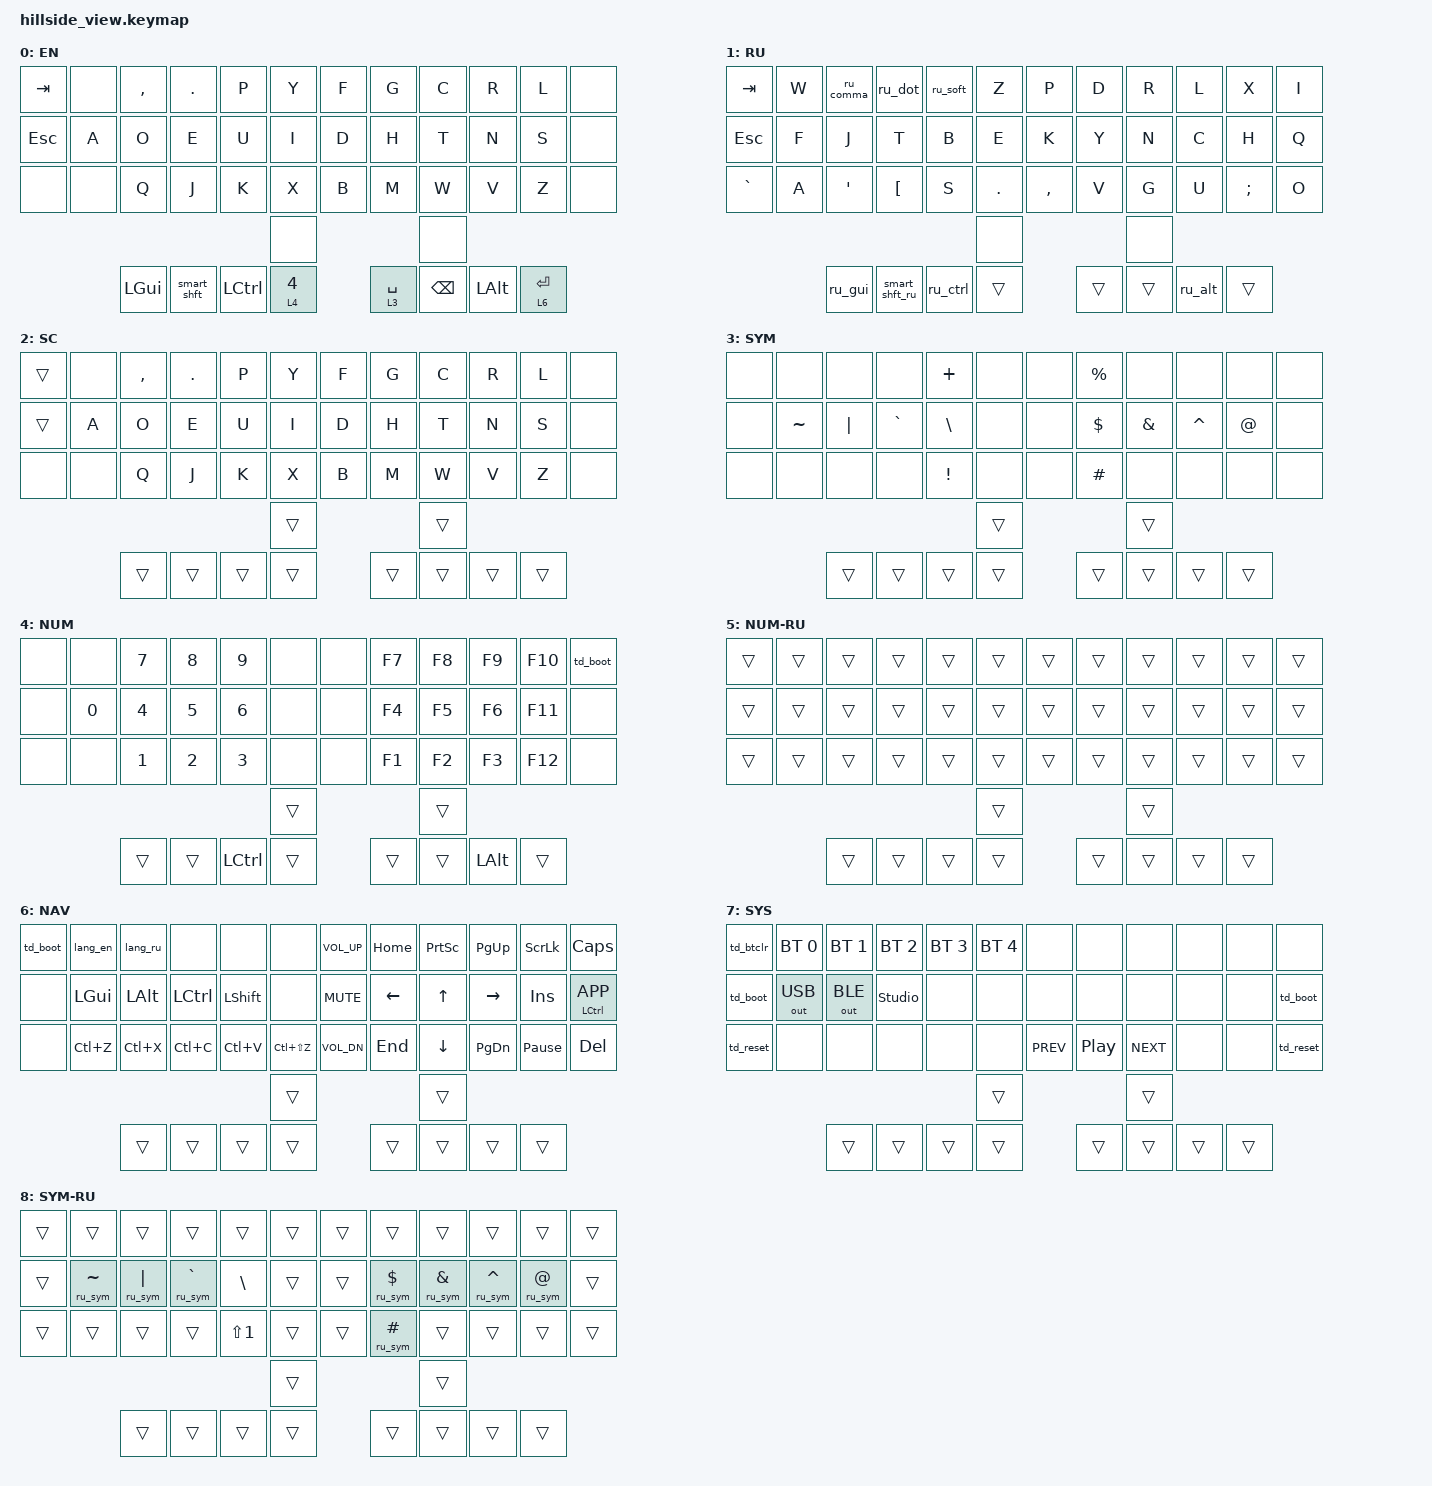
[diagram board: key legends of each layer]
/*
 * HillSideView (shield hillside_view, 46 позиций) · ZMK
 * Dvorak и Диктор в прошивке поверх ВСТРОЕННЫХ раскладок ОС: US (QWERTY) и Russian (ЙЦУКЕН).
 *
 * Слои:  0 EN · 1 RU · 2 SC · 3 SYM · 4 NUM · 5 NUM-RU (усл.) · 6 NAV · 7 SYS (усл.)
 * Номера слоёв в привязках записаны цифрами, чтобы файл открывался в keymap editor.
 *
 * Порядок позиций (из boards/shields/hillside_view/hillside_view.dtsi):
 *   0-11  верхний ряд   (левая: внешняя→внутренняя, правая: внутренняя→внешняя)
 *   12-23 домашний ряд
 *   24-35 нижний ряд
 *   36-37 верхние клавиши больших пальцев (на 44-клавишной сборке не распаяны → &none)
 *   38-41 левые большие пальцы  (внешняя → внутренняя)
 *   42-45 правые большие пальцы (внутренняя → внешняя)
 *
 * ОС: только English (US) и Russian (ЙЦУКЕН).
 *   Ctrl+Shift+1 → выбрать английский, Ctrl+Shift+2 → выбрать русский.
 *   Windows: «Использовать один метод ввода для всех приложений» — включено (это по умолчанию).
 *
 * Большие пальцы: слева Gui · Shift · Ctrl · Num/NUM, справа Space/NAV · Bksp · Alt · Enter/SYM.
 * Смена языка: Num + Space одновременно.
 *
 * Требует модуль urob/zmk-auto-layer в config/west.yml (для &num_word).
 */

#include <behaviors.dtsi>
#include <behaviors/num_word.dtsi>
#include <behaviors/studio_unlock.dtsi>
#include <dt-bindings/zmk/keys.h>
#include <dt-bindings/zmk/bt.h>
#include <dt-bindings/zmk/outputs.h>

&sk {
    release-after-ms = <1000>;
    quick-release;
};

&caps_word {
    continue-list = <UNDERSCORE MINUS BACKSPACE DELETE>;
};

&num_word {
    continue-list = <BSPC DEL DOT COMMA FSLH KP_SLASH PLUS MINUS STAR EQUAL PRCNT UNDERSCORE>;
};

/ {
    behaviors {
        // Защита от случайного нажатия, как в Miryoku: срабатывает только двойной тап
        td_boot: td_boot {
            compatible = "zmk,behavior-tap-dance";
            #binding-cells = <0>;
            tapping-term-ms = <200>;
            bindings = <&none>, <&bootloader>;
        };
        td_reset: td_reset {
            compatible = "zmk,behavior-tap-dance";
            #binding-cells = <0>;
            tapping-term-ms = <200>;
            bindings = <&none>, <&sys_reset>;
        };
        td_btclr: td_btclr {
            compatible = "zmk,behavior-tap-dance";
            #binding-cells = <0>;
            tapping-term-ms = <200>;
            bindings = <&none>, <&bt BT_CLR>;
        };
        // тап — клавиша, удержание — слой
        ht: hold_tap_layer {
            compatible = "zmk,behavior-hold-tap";
            #binding-cells = <2>;
            flavor = "balanced";
            tapping-term-ms = <200>;
            quick-tap-ms = <175>;
            bindings = <&mo>, <&kp>;
        };
        // Space: тап — пробел, удержание — SYM. При быстрой печати всегда пробел.
        ht_spc: hold_tap_space {
            compatible = "zmk,behavior-hold-tap";
            #binding-cells = <2>;
            flavor = "balanced";
            tapping-term-ms = <200>;
            quick-tap-ms = <175>;
            require-prior-idle-ms = <150>;
            bindings = <&mo>, <&kp>;
        };
        // тап — numword, удержание — NUM
        ht_num: hold_tap_num {
            compatible = "zmk,behavior-hold-tap";
            #binding-cells = <2>;
            flavor = "balanced";
            tapping-term-ms = <200>;
            bindings = <&mo>, <&num_word>;
        };
        // Shift: тап — sticky shift, второй тап — caps word, удержание — обычный Shift
        smart_shft: smart_shift {
            compatible = "zmk,behavior-mod-morph";
            #binding-cells = <0>;
            bindings = <&sk LSHFT>, <&caps_word>;
            mods = <(MOD_LSFT|MOD_RSFT)>;
        };
        // RU: второй тап — системный Caps Lock (caps word сдвигает только A–Z)
        smart_shft_ru: smart_shift_ru {
            compatible = "zmk,behavior-mod-morph";
            #binding-cells = <0>;
            bindings = <&sk LSHFT>, <&kp CAPS>;
            mods = <(MOD_LSFT|MOD_RSFT)>;
        };
        // Ь, с Shift — ъ
        ru_soft: ru_soft {
            compatible = "zmk,behavior-mod-morph";
            #binding-cells = <0>;
            bindings = <&kp M>, <&kp RBKT>;
            mods = <(MOD_LSFT|MOD_RSFT)>;
        };
        // «,», с Shift — «<» как в EN  (в ЙЦУКЕН «,» = Shift+/; «<» нет — ОС на миг в EN через ru_sym)
        ru_comma: ru_comma {
            compatible = "zmk,behavior-mod-morph";
            #binding-cells = <0>;
            bindings = <&kp LS(FSLH)>, <&ru_sym LT>;
            mods = <(MOD_LSFT|MOD_RSFT)>;
        };
        // «.», с Shift — «>» как в EN  (в ЙЦУКЕН «.» = /; «>» нет — ОС на миг в EN через ru_sym)
        ru_dot: ru_dot {
            compatible = "zmk,behavior-mod-morph";
            #binding-cells = <0>;
            bindings = <&kp FSLH>, <&ru_sym GT>;
            mods = <(MOD_LSFT|MOD_RSFT)>;
        };
    };

    macros {
        // Смена языка: выбрать раскладку в ОС и базовый слой. Каждое нажатие заново синхронизирует.
        lang_ru: lang_ru {
            compatible = "zmk,behavior-macro";
            #binding-cells = <0>;
            wait-ms = <30>;
            tap-ms = <30>;
            bindings = <&macro_tap &kp LC(LS(N2)) &to 1>;
        };
        lang_en: lang_en {
            compatible = "zmk,behavior-macro";
            #binding-cells = <0>;
            wait-ms = <30>;
            tap-ms = <30>;
            bindings = <&macro_tap &kp LC(LS(N1)) &to 0>;
        };
        // RU: один английский символ = EN → символ → RU
        ru_sym: ru_sym {
            compatible = "zmk,behavior-macro-one-param";
            #binding-cells = <1>;
            wait-ms = <40>;
            tap-ms = <20>;
            bindings
                = <&macro_tap &kp LC(LS(N1))>
                , <&macro_param_1to1>
                , <&macro_tap &kp MACRO_PLACEHOLDER>
                , <&macro_tap &kp LC(LS(N2))>
                ;
        };
        // RU: модификаторы включают слой SC (английские буквы), чтобы хоткеи совпадали с EN
        ru_ctrl: ru_ctrl {
            compatible = "zmk,behavior-macro";
            #binding-cells = <0>;
            wait-ms = <0>;
            tap-ms = <0>;
            bindings
                = <&macro_press &mo 2 &kp LCTRL>
                , <&macro_pause_for_release>
                , <&macro_release &kp LCTRL &mo 2>
                ;
        };
        ru_alt: ru_alt {
            compatible = "zmk,behavior-macro";
            #binding-cells = <0>;
            wait-ms = <0>;
            tap-ms = <0>;
            bindings
                = <&macro_press &mo 2 &kp LALT>
                , <&macro_pause_for_release>
                , <&macro_release &kp LALT &mo 2>
                ;
        };
        ru_gui: ru_gui {
            compatible = "zmk,behavior-macro";
            #binding-cells = <0>;
            wait-ms = <0>;
            tap-ms = <0>;
            bindings
                = <&macro_press &mo 2 &kp LGUI>
                , <&macro_pause_for_release>
                , <&macro_release &kp LGUI &mo 2>
                ;
        };
    };

    conditional_layers {
        compatible = "zmk,conditional-layers";
        num_ru {
            if-layers = <1 4>;
            then-layer = <5>;
        };
        sys {
            if-layers = <4 6>;
            then-layer = <7>;
        };
        sym_ru {
            if-layers = <1 3>;
            then-layer = <8>;
        };
    };

    combos {
        compatible = "zmk,combos";

        // Смена языка: оба внутренних больших пальца (Num + Space)
        combo_lang_ru {
            timeout-ms = <40>;
            require-prior-idle-ms = <150>;
            key-positions = <41 42>;
            bindings = <&lang_ru>;
            layers = <0>;
        };

        combo_lang_en {
            timeout-ms = <40>;
            require-prior-idle-ms = <150>;
            key-positions = <41 42>;
            bindings = <&lang_en>;
            layers = <1>;
        };

        // Все остальные комбо вертикальные: две клавиши одной колонки одним пальцем.
        // Ролла по одной колонке не бывает, поэтому idle 50 мс: скобку можно набрать сразу после буквы.

        // внутренние колонки, верх+дом (Y+I, F+D): ( )
        combo_lpar {
            timeout-ms = <50>;
            require-prior-idle-ms = <50>;
            key-positions = <5 17>;
            bindings = <&kp LPAR>;
            layers = <0 1>;
        };

        combo_rpar {
            timeout-ms = <50>;
            require-prior-idle-ms = <50>;
            key-positions = <6 18>;
            bindings = <&kp RPAR>;
            layers = <0 1>;
        };

        // правая внутренняя колонка, дом+низ (D+B): _
        combo_under {
            timeout-ms = <50>;
            require-prior-idle-ms = <50>;
            key-positions = <18 30>;
            bindings = <&kp UNDERSCORE>;
            layers = <0 1>;
        };

        // безымянные, верх+дом: [ ]  (RU — через ru_sym)
        combo_lbkt_en {
            timeout-ms = <60>;
            require-prior-idle-ms = <50>;
            key-positions = <2 14>;
            bindings = <&kp LBKT>;
            layers = <0>;
        };

        combo_lbkt_ru {
            timeout-ms = <60>;
            require-prior-idle-ms = <50>;
            key-positions = <2 14>;
            bindings = <&ru_sym LBKT>;
            layers = <1>;
        };

        combo_rbkt_en {
            timeout-ms = <60>;
            require-prior-idle-ms = <50>;
            key-positions = <9 21>;
            bindings = <&kp RBKT>;
            layers = <0>;
        };

        combo_rbkt_ru {
            timeout-ms = <60>;
            require-prior-idle-ms = <50>;
            key-positions = <9 21>;
            bindings = <&ru_sym RBKT>;
            layers = <1>;
        };

        // указательные, верх+дом: { }  (RU — через ru_sym)
        combo_lbrc_en {
            timeout-ms = <50>;
            require-prior-idle-ms = <50>;
            key-positions = <4 16>;
            bindings = <&kp LBRC>;
            layers = <0>;
        };

        combo_lbrc_ru {
            timeout-ms = <50>;
            require-prior-idle-ms = <50>;
            key-positions = <4 16>;
            bindings = <&ru_sym LBRC>;
            layers = <1>;
        };

        combo_rbrc_en {
            timeout-ms = <50>;
            require-prior-idle-ms = <50>;
            key-positions = <7 19>;
            bindings = <&kp RBRC>;
            layers = <0>;
        };

        combo_rbrc_ru {
            timeout-ms = <50>;
            require-prior-idle-ms = <50>;
            key-positions = <7 19>;
            bindings = <&ru_sym RBRC>;
            layers = <1>;
        };

        // средний левый, дом+низ (E+J): :  (в ЙЦУКЕН «:» = Shift+6)
        combo_colon_en {
            timeout-ms = <50>;
            require-prior-idle-ms = <50>;
            key-positions = <15 27>;
            bindings = <&kp COLON>;
            layers = <0>;
        };

        combo_colon_ru {
            timeout-ms = <50>;
            require-prior-idle-ms = <50>;
            key-positions = <15 27>;
            bindings = <&kp LS(N6)>;
            layers = <1>;
        };

        // средний правый, дом+низ (T+W): ;  (в ЙЦУКЕН «;» = Shift+4)
        combo_semi_en {
            timeout-ms = <50>;
            require-prior-idle-ms = <50>;
            key-positions = <20 32>;
            bindings = <&kp SEMI>;
            layers = <0>;
        };

        combo_semi_ru {
            timeout-ms = <50>;
            require-prior-idle-ms = <50>;
            key-positions = <20 32>;
            bindings = <&kp LS(N4)>;
            layers = <1>;
        };

        // средние, верх+дом: ? (.+E) и = (C+T)  (в ЙЦУКЕН ? = Shift+7; код = одинаковый, с Shift даёт +)
        combo_qmark_en {
            timeout-ms = <50>;
            require-prior-idle-ms = <50>;
            key-positions = <3 15>;
            bindings = <&kp QMARK>;
            layers = <0>;
        };

        combo_qmark_ru {
            timeout-ms = <50>;
            require-prior-idle-ms = <50>;
            key-positions = <3 15>;
            bindings = <&kp LS(N7)>;
            layers = <1>;
        };

        combo_equal {
            timeout-ms = <50>;
            require-prior-idle-ms = <50>;
            key-positions = <8 20>;
            bindings = <&kp EQUAL>;
            layers = <0 1>;
        };

        // безымянный левый, дом+низ: *  (в ЙЦУКЕН тоже Shift+8)
        combo_star {
            timeout-ms = <60>;
            require-prior-idle-ms = <50>;
            key-positions = <14 26>;
            bindings = <&kp STAR>;
            layers = <0 1>;
        };

        // левый указательный, дом+низ (U+K): '  (в ЙЦУКЕН нет — через ru_sym)
        combo_sqt_en {
            timeout-ms = <50>;
            require-prior-idle-ms = <50>;
            key-positions = <16 28>;
            bindings = <&kp SQT>;
            layers = <0>;
        };

        combo_sqt_ru {
            timeout-ms = <50>;
            require-prior-idle-ms = <50>;
            key-positions = <16 28>;
            bindings = <&ru_sym SQT>;
            layers = <1>;
        };

        // правый указательный, дом+низ (H+M): "  (в ЙЦУКЕН " = Shift+2)
        combo_dqt_en {
            timeout-ms = <50>;
            require-prior-idle-ms = <50>;
            key-positions = <19 31>;
            bindings = <&kp DQT>;
            layers = <0>;
        };

        combo_dqt_ru {
            timeout-ms = <50>;
            require-prior-idle-ms = <50>;
            key-positions = <19 31>;
            bindings = <&kp LS(N2)>;
            layers = <1>;
        };

        // внутренние колонки, дом+низ: - (I+X) и / (D+B)  (в ЙЦУКЕН / = Shift+\)
        combo_minus {
            timeout-ms = <50>;
            require-prior-idle-ms = <50>;
            key-positions = <17 29>;
            bindings = <&kp MINUS>;
            layers = <0 1>;
        };

        combo_fslh_en {
            timeout-ms = <60>;
            require-prior-idle-ms = <50>;
            key-positions = <21 33>;
            bindings = <&kp FSLH>;
            layers = <0>;
        };

        combo_fslh_ru {
            timeout-ms = <60>;
            require-prior-idle-ms = <50>;
            key-positions = <21 33>;
            bindings = <&kp LS(BSLH)>;
            layers = <1>;
        };
    };

    keymap {
        compatible = "zmk,keymap";

        // 0 · Dvorak поверх US
        en_layer {
            display-name = "EN";
            bindings = <
        &kp TAB          &none            &kp COMMA        &kp DOT          &kp P            &kp Y   &kp F            &kp G            &kp C            &kp R            &kp L            &none
        &kp ESC          &kp A            &kp O            &kp E            &kp U            &kp I   &kp D            &kp H            &kp T            &kp N            &kp S            &none
        &none            &none            &kp Q            &kp J            &kp K            &kp X   &kp B            &kp M            &kp W            &kp V            &kp Z            &none
                                                                                             &none                               &none
                                          &kp LGUI         &smart_shft      &kp LCTRL        &ht_num 4 4        &ht_spc 3 SPACE  &kp BSPC         &kp LALT         &ht 6 RET
            >;
        };

        // 1 · Диктор (буквы Ru pro, гласные А О Е И У) поверх ЙЦУКЕН
        ru_layer {
            display-name = "RU";
            bindings = <
        &kp TAB          &kp W            &ru_comma        &ru_dot          &ru_soft         &kp Z   &kp P            &kp D            &kp R            &kp L            &kp X            &kp I
        &kp ESC          &kp F            &kp J            &kp T            &kp B            &kp E   &kp K            &kp Y            &kp N            &kp C            &kp H            &kp Q
        &kp GRAVE        &kp A            &kp SQT          &kp LBKT         &kp S            &kp DOT   &kp COMMA        &kp V            &kp G            &kp U            &kp SEMI         &kp O
                                                                                             &none                               &none
                                          &ru_gui          &smart_shft_ru   &ru_ctrl         &trans             &trans           &trans           &ru_alt          &trans
            >;
        };

        // 2 · английские буквы под Ctrl/Alt/Gui в русском режиме
        sc_layer {
            display-name = "SC";
            bindings = <
        &trans           &none            &kp COMMA        &kp DOT          &kp P            &kp Y   &kp F            &kp G            &kp C            &kp R            &kp L            &none
        &trans           &kp A            &kp O            &kp E            &kp U            &kp I   &kp D            &kp H            &kp T            &kp N            &kp S            &none
        &none            &none            &kp Q            &kp J            &kp K            &kp X   &kp B            &kp M            &kp W            &kp V            &kp Z            &none
                                                                                             &trans                              &trans
                                          &trans           &trans           &trans           &trans             &trans           &trans           &trans           &trans
            >;
        };

        // 3 · только символы, которых нет на базовом слое, в комбо и на NUM; на домашнем ряду; над указательными + и %, под ними ! и #
        sym_layer {
            display-name = "SYM";
            bindings = <
        &none            &none            &none            &none            &kp PLUS         &none   &none            &kp PRCNT        &none            &none            &none            &none
        &none            &kp TILDE        &kp PIPE         &kp GRAVE        &kp BSLH         &none   &none            &kp DLLR         &kp AMPS         &kp CARET        &kp AT           &none
        &none            &none            &none            &none            &kp EXCL         &none   &none            &kp HASH         &none            &none            &none            &none
                                                                                             &trans                              &trans
                                          &trans           &trans           &trans           &trans             &trans           &trans           &trans           &trans
            >;
        };

        // 4 · цифры левой рукой, 0 на мизинце; справа F-клавиши (F10–F12 в пятом столбце), символов нет; Ctrl и Alt там же, где на основном слое
        num_layer {
            display-name = "NUM";
            bindings = <
        &none            &none            &kp N7           &kp N8           &kp N9           &none   &none            &kp F7           &kp F8           &kp F9           &kp F10          &td_boot
        &none            &kp N0           &kp N4           &kp N5           &kp N6           &none   &none            &kp F4           &kp F5           &kp F6           &kp F11          &none
        &none            &none            &kp N1           &kp N2           &kp N3           &none   &none            &kp F1           &kp F2           &kp F3           &kp F12          &none
                                                                                             &trans                              &trans
                                          &trans           &trans           &kp LCTRL        &trans             &trans           &trans           &kp LALT         &trans
            >;
        };

        // 5 · условный: RU + NUM, пока пустой (оставлен, чтобы не сдвигать номера слоёв)
        num_ru_layer {
            display-name = "NUM-RU";
            bindings = <
        &trans           &trans           &trans           &trans           &trans           &trans   &trans           &trans           &trans           &trans           &trans           &trans
        &trans           &trans           &trans           &trans           &trans           &trans   &trans           &trans           &trans           &trans           &trans           &trans
        &trans           &trans           &trans           &trans           &trans           &trans   &trans           &trans           &trans           &trans           &trans           &trans
                                                                                             &trans                              &trans
                                          &trans           &trans           &trans           &trans             &trans           &trans           &trans           &trans
            >;
        };

        // 6 · навигация
        nav_layer {
            display-name = "NAV";
            bindings = <
        &td_boot         &lang_en         &lang_ru         &none            &none            &none   &kp C_VOL_UP     &kp HOME         &kp PSCRN        &kp PG_UP        &kp SLCK         &kp CAPS
        &none            &kp LGUI         &kp LALT         &kp LCTRL        &kp LSHFT        &none   &kp C_MUTE       &kp LEFT         &kp UP           &kp RIGHT        &kp INS          &mt LCTRL K_APP
        &none            &kp LC(Z)        &kp LC(X)        &kp LC(C)        &kp LC(V)        &kp LC(LS(Z))   &kp C_VOL_DN     &kp END          &kp DOWN         &kp PG_DN        &kp PAUSE_BREAK  &kp DEL
                                                                                             &trans                              &trans
                                          &trans           &trans           &trans           &trans             &trans           &trans           &trans           &trans
            >;
        };

        // 7 · условный: NAV + NUM
        sys_layer {
            display-name = "SYS";
            bindings = <
        &td_btclr        &bt BT_SEL 0     &bt BT_SEL 1     &bt BT_SEL 2     &bt BT_SEL 3     &bt BT_SEL 4   &none            &none            &none            &none            &none            &none
        &td_boot         &out OUT_USB     &out OUT_BLE     &studio_unlock   &none            &none   &none            &none            &none            &none            &none            &td_boot
        &td_reset        &none            &none            &none            &none            &none   &kp C_PREV       &kp C_PP         &kp C_NEXT       &none            &none            &td_reset
                                                                                             &trans                              &trans
                                          &trans           &trans           &trans           &trans             &trans           &trans           &trans           &trans
            >;
        };

        // 8 · условный: RU + SYM — каждый символ сам переключает ОС на миг в EN (\ есть в ЙЦУКЕН)
        sym_ru_layer {
            display-name = "SYM-RU";
            bindings = <
        &trans           &trans           &trans           &trans           &trans           &trans   &trans           &trans           &trans           &trans           &trans           &trans
        &trans           &ru_sym TILDE    &ru_sym PIPE     &ru_sym GRAVE    &kp BSLH         &trans   &trans           &ru_sym DLLR     &ru_sym AMPS     &ru_sym CARET    &ru_sym AT       &trans
        &trans           &trans           &trans           &trans           &kp LS(N1)       &trans   &trans           &ru_sym HASH     &trans           &trans           &trans           &trans
                                                                                             &trans                              &trans
                                          &trans           &trans           &trans           &trans             &trans           &trans           &trans           &trans
            >;
        };
    };
};
